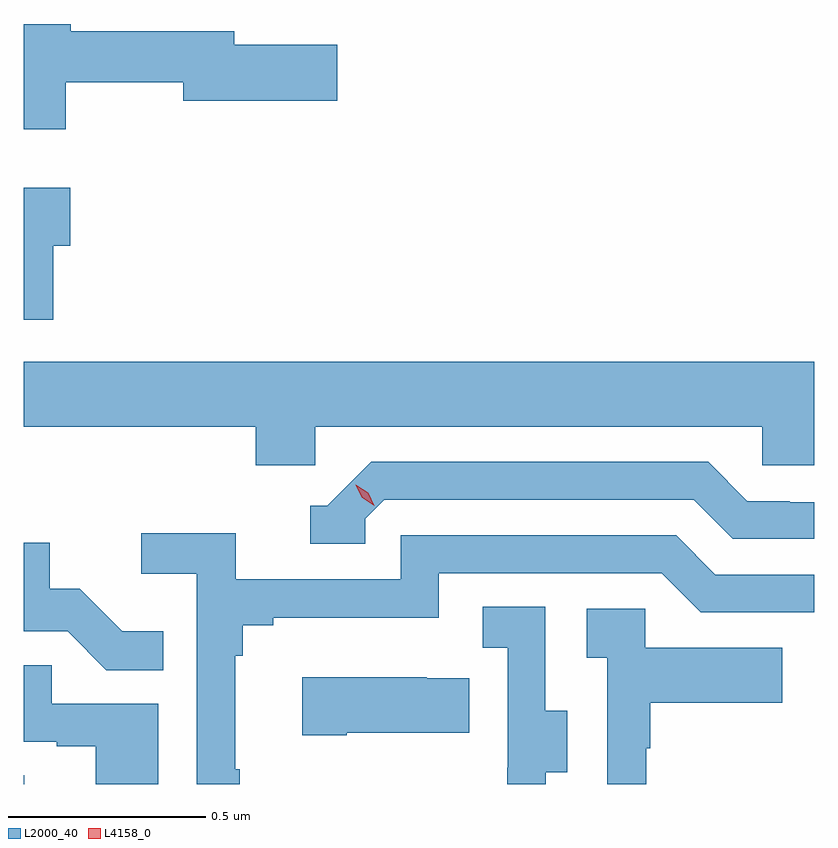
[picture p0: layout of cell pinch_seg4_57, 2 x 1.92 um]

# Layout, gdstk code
import gdstk
lib = gdstk.Library(unit=1e-6, precision=1e-09)
def R(c, l, rs):  # rectangles x0, y0, x1, y1
    for r in rs: c.add(gdstk.rectangle(r[:2], r[2:], *l))
def P(c, l, *ps):  # polygons
    for p in ps: c.add(gdstk.Polygon(p, *l))
L2000_40 = (2000, 40)
L4158_0 = (4158, 0)

pinch_seg4_57 = lib.new_cell('pinch_seg4_57')
R(pinch_seg4_57, L2000_40, [(1046.28,817.228,1046.281,817.25)])
P(pinch_seg4_57, L2000_40, [(1046.386,819.004),(1046.684,819.004),(1046.684,818.957),(1047.073,818.957),(1047.073,819.099),(1046.812,819.099),(1046.812,819.133),(1046.399,819.133),(1046.399,819.151),(1046.28,819.151),(1046.28,818.885),(1046.386,818.885)],
  [(1046.354,818.59),(1046.398,818.59),(1046.398,818.737),(1046.28,818.737),(1046.28,818.403),(1046.354,818.403)],
  [(1047.018,818.132),(1048.149,818.132),(1048.149,818.034),(1048.28,818.034),(1048.28,818.296),(1046.28,818.296),(1046.28,818.132),(1046.867,818.132),(1046.867,818.034),(1047.018,818.034)],
  [(1047.144,817.899),(1047.192,817.947),(1047.975,817.947),(1048.074,817.848),(1048.28,817.848),(1048.28,817.941),(1048.218,817.941),(1048.218,817.944),(1048.111,817.944),(1048.012,818.043),(1047.159,818.043),(1047.048,817.932),(1047.005,817.932),(1047.005,817.836),(1047.144,817.836)],
  [(1046.827,817.265),(1046.815,817.265),(1046.815,817.553),(1046.834,817.553),(1046.834,817.63),(1046.911,817.63),(1046.911,817.649),(1047.33,817.649),(1047.33,817.761),(1047.894,817.761),(1047.993,817.662),(1048.28,817.662),(1048.28,817.758),(1048.03,817.758),(1047.931,817.857),(1047.234,817.857),(1047.234,817.746),(1046.816,817.746),(1046.816,817.862),(1046.577,817.862),(1046.577,817.76),(1046.718,817.76),(1046.718,817.228),(1046.827,817.228)],
  [(1046.633,817.615),(1046.529,817.615),(1046.422,817.722),(1046.346,817.722),(1046.346,817.839),(1046.28,817.839),(1046.28,817.614),(1046.391,817.614),(1046.489,817.516),(1046.633,817.516)],
  [(1047.601,817.258),(1047.655,817.258),(1047.655,817.413),(1047.6,817.413),(1047.6,817.676),(1047.441,817.676),(1047.441,817.573),(1047.504,817.573),(1047.504,817.269),(1047.503,817.269),(1047.503,817.228),(1047.601,817.228)],
  [(1047.855,817.319),(1047.865,817.319),(1047.865,817.433),(1048.199,817.433),(1048.199,817.573),(1047.852,817.573),(1047.852,817.671),(1047.705,817.671),(1047.705,817.547),(1047.756,817.547),(1047.756,817.228),(1047.855,817.228)],
  [(1046.62,817.431),(1046.351,817.431),(1046.351,817.529),(1046.28,817.529),(1046.28,817.335),(1046.363,817.335),(1046.363,817.323),(1046.462,817.323),(1046.462,817.228),(1046.62,817.228)],
  [(1047.097,817.358),(1047.407,817.358),(1047.407,817.495),(1047.299,817.495),(1047.299,817.498),(1046.985,817.498),(1046.985,817.351),(1047.097,817.351)])
P(pinch_seg4_57, L4158_0, [(1047.167,817.932),(1047.136,817.952),(1047.12,817.984),(1047.12,817.985),(1047.12,817.985),(1047.151,817.965),(1047.167,817.932),(1047.167,817.932)])

lib.write_gds('pinch_seg4_57.gds')
